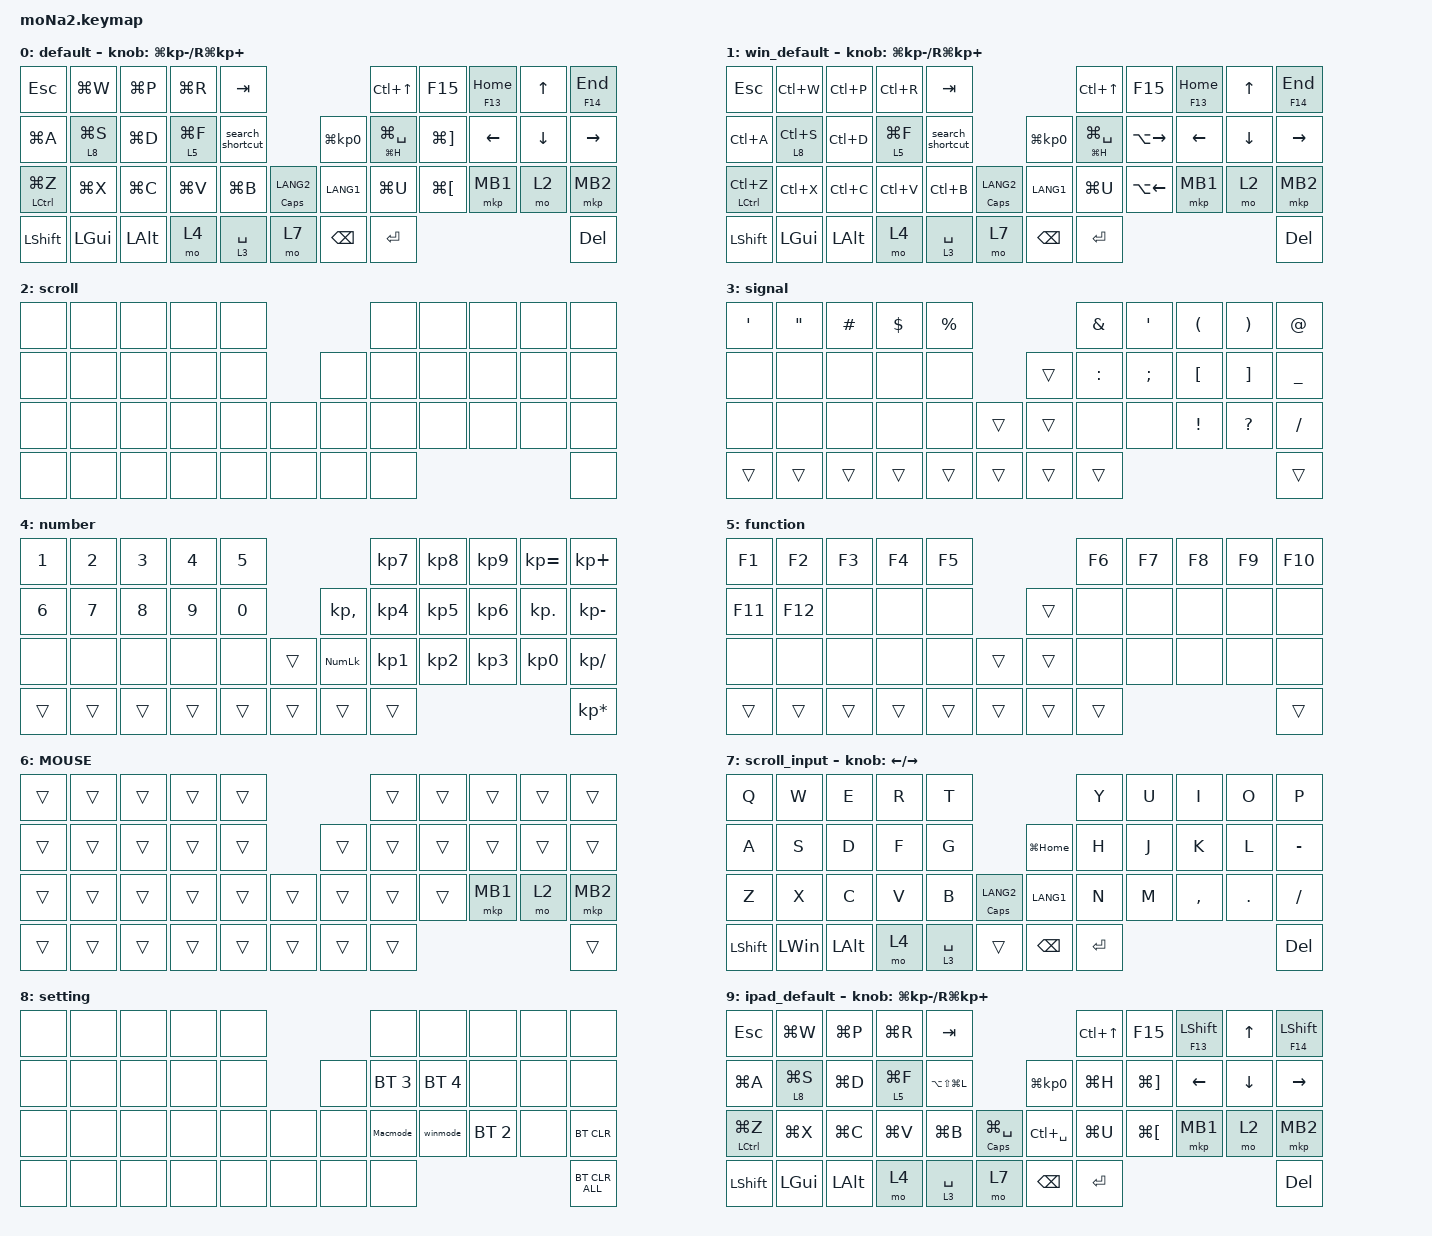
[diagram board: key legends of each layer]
#include <behaviors.dtsi>
#include <dt-bindings/zmk/bt.h>
#include <dt-bindings/zmk/keys.h>
#include <dt-bindings/zmk/pointing.h>

#define ZMK_POINTING_DEFAULT_SCRL_VAL 100
#define MOUSE 5

&mt {
    flavor = "balanced";
    quick-tap-ms = <0>;
};

/ {
    combos {
        compatible = "zmk,combos";

        username {
            bindings = <&username>;
            key-positions = <38 33>;
        };

        username2 {
            bindings = <&username2>;
            key-positions = <33 37>;
        };

        rightscroll {
            bindings = <&mo 2>;
            key-positions = <8 9>;
        };
    };

    macros {
        to_layer_0: to_layer_0 {
            compatible = "zmk,behavior-macro-one-param";
            #binding-cells = <1>;
            bindings = <&to 2 &macro_param_1to1 &kp MACRO_PLACEHOLDER>;
            label = "TO_LAYER_0";
        };

        username: username {
            compatible = "zmk,behavior-macro";
            #binding-cells = <0>;
            bindings = <&kp LANG2 &kp A &kp Z &kp U &kp R &kp E &kp KP_NUMBER_6 &kp KP_NUMBER_1 &kp KP_NUMBER_4 &kp LANG1>;
            label = "USERNAME";
        };

        username2: username2 {
            compatible = "zmk,behavior-macro";
            #binding-cells = <0>;
            bindings = <&kp LANG2 &kp LS(A) &kp Z &kp U &kp R &kp E &kp KP_NUMBER_6 &kp KP_NUMBER_9 &kp M &kp H &kp KP_NUMBER_5 &kp KP_NUMBER_2 &kp Z &kp LANG1>;
            label = "USERNAME2";
        };

        search_shortcut: search_shortcut {
            compatible = "zmk,behavior-macro";
            #binding-cells = <0>;
            bindings =
                <&kp LG(C)>,
                <&macro_wait_time 100>,
                <&kp LG(T)>,
                <&macro_wait_time 200>,
                <&kp LG(V)>,
                <&macro_wait_time 200>,
                <&kp ENTER>;

            label = "SEARCH_SHORTCUT";
        };

        winmode: winmode {
            compatible = "zmk,behavior-macro";
            #binding-cells = <0>;
            bindings =
                <&tog_off 0 &tog_off 2 &tog_off 3 &tog_off 4 &tog_off 5 &tog_off 6 &tog_off 7 &tog_off 8 &tog_off 9 &tog_off 1>,
                <&macro_press>,
                <&bt BT_SEL 1>,
                <&macro_wait_time 200>,
                <&tog_on 1>;

            label = "WINMODE";
        };

        Macmode: Macmode {
            compatible = "zmk,behavior-macro";
            #binding-cells = <0>;
            bindings =
                <&tog_off 0 &tog_off 2 &tog_off 3 &tog_off 4 &tog_off 5 &tog_off 6 &tog_off 7 &tog_off 8 &tog_off 9 &tog_off 1>,
                <&macro_press>,
                <&bt BT_SEL 0>,
                <&macro_wait_time 200>,
                <&tog_on 0>;

            label = "MACMODE";
        };
    };

    behaviors {
        lt_to_layer_0: lt_to_layer_0 {
            compatible = "zmk,behavior-hold-tap";
            label = "LAYER_TAP_TO_0";
            bindings = <&mo>, <&to_layer_0>;

            #binding-cells = <2>;
            tapping-term-ms = <200>;
        };

        scroll_up_down: behavior_sensor_rotate_mouse_wheel_up_down {
            compatible = "zmk,behavior-sensor-rotate";
            #sensor-binding-cells = <0>;
            bindings = <&msc SCRL_UP>, <&msc SCRL_DOWN>;

            tap-ms = <20>;
        };

        tog_on: toggle_layer_on_only {
            compatible = "zmk,behavior-toggle-layer";
            #binding-cells = <1>;
            display-name = "Toggle Layer On";
            toggle-mode = "on";
        };

        tog_off: toggle_layer_off_only {
            compatible = "zmk,behavior-toggle-layer";
            #binding-cells = <1>;
            display-name = "Toggle Layer Off";
            toggle-mode = "off";
        };
    };

    keymap {
        compatible = "zmk,keymap";

        default {
            bindings = <
&kp ESC          &kp LG(W)    &kp LG(P)  &kp LG(R)    &kp TAB                                                      &kp LC(UP)           &kp F15                &mt F13 HOME  &kp UP    &mt F14 END
&kp LG(A)        &lt 8 LG(S)  &kp LG(D)  &lt 5 LG(F)  &search_shortcut                        &kp LG(KP_NUMBER_0)  &mt LG(H) LG(SPACE)  &kp LG(RIGHT_BRACKET)  &kp LEFT      &kp DOWN  &kp RIGHT
&mt LCTRL LG(Z)  &kp LG(X)    &kp LG(C)  &kp LG(V)    &kp LG(B)         &mt CAPSLOCK LANG2    &kp LANG1            &kp LG(U)            &kp LG(LEFT_BRACKET)   &mkp MB1      &mo 2     &mkp MB2
&kp LSHFT        &kp LGUI     &kp LALT   &mo 4        &lt 3 SPACE       &mo 7                 &kp BSPC             &kp ENTER                                                           &kp DELETE
            >;

            sensor-bindings = <&inc_dec_kp LG(KP_MINUS) RG(KP_PLUS)>;
        };

        win_default {
            bindings = <
&kp ESC          &kp LC(W)    &kp LC(P)  &kp LC(R)    &kp TAB                                                      &kp LC(UP)           &kp F15              &mt F13 HOME  &kp UP    &mt F14 END
&kp LC(A)        &lt 8 LC(S)  &kp LC(D)  &lt 5 LG(F)  &search_shortcut                        &kp LG(KP_NUMBER_0)  &mt LG(H) LG(SPACE)  &kp LA(RIGHT_ARROW)  &kp LEFT      &kp DOWN  &kp RIGHT
&mt LCTRL LC(Z)  &kp LC(X)    &kp LC(C)  &kp LC(V)    &kp LC(B)         &mt CAPSLOCK LANG2    &kp LANG1            &kp LG(U)            &kp LA(LEFT)         &mkp MB1      &mo 2     &mkp MB2
&kp LSHFT        &kp LGUI     &kp LALT   &mo 4        &lt 3 SPACE       &mo 7                 &kp BSPC             &kp ENTER                                                         &kp DELETE
            >;

            sensor-bindings = <&inc_dec_kp LG(KP_MINUS) RG(KP_PLUS)>;
        };

        scroll {
            bindings = <
&none  &none  &none  &none  &none                  &none  &none  &none  &none  &none
&none  &none  &none  &none  &none           &none  &none  &none  &none  &none  &none
&none  &none  &none  &none  &none  &none    &none  &none  &none  &none  &none  &none
&none  &none  &none  &none  &none  &none    &none  &none                       &none
            >;
        };

        signal {
            bindings = <
&kp SQT  &kp DOUBLE_QUOTES  &kp HASH  &kp DOLLAR  &kp PERCENT                    &kp AMPERSAND  &kp SQT        &kp LEFT_PARENTHESIS  &kp RIGHT_PARENTHESIS  &kp AT_SIGN
&none    &none              &none     &none       &none                  &trans  &kp COLON      &kp SEMICOLON  &kp LEFT_BRACKET      &kp RIGHT_BRACKET      &kp UNDERSCORE
&none    &none              &none     &none       &none        &trans    &trans  &none          &none          &kp EXCLAMATION       &kp QUESTION           &kp SLASH
&trans   &trans             &trans    &trans      &trans       &trans    &trans  &trans                                                                     &trans
            >;
        };

        number {
            bindings = <
&kp NUMBER_1  &kp NUMBER_2  &kp NUMBER_3  &kp NUMBER_4  &kp NUMBER_5                          &kp KP_NUMBER_7  &kp KP_NUMBER_8  &kp KP_NUMBER_9  &kp KP_EQUAL     &kp KP_PLUS
&kp N6        &kp N7        &kp N8        &kp N9        &kp N0                  &kp KP_COMMA  &kp KP_NUMBER_4  &kp KP_NUMBER_5  &kp KP_NUMBER_6  &kp KP_DOT       &kp KP_MINUS
&none         &none         &none         &none         &none         &trans    &kp KP_NLCK   &kp KP_NUMBER_1  &kp KP_NUMBER_2  &kp KP_NUMBER_3  &kp KP_NUMBER_0  &kp KP_SLASH
&trans        &trans        &trans        &trans        &trans        &trans    &trans        &trans                                                              &kp KP_ASTERISK
            >;
        };

        function {
            bindings = <
&kp F1   &kp F2   &kp F3  &kp F4  &kp F5                    &kp F6  &kp F7  &kp F8  &kp F9  &kp F10
&kp F11  &kp F12  &none   &none   &none             &trans  &none   &none   &none   &none   &none
&none    &none    &none   &none   &none   &trans    &trans  &none   &none   &none   &none   &none
&trans   &trans   &trans  &trans  &trans  &trans    &trans  &trans                          &trans
            >;
        };

        MOUSE {
            bindings = <
&trans  &trans  &trans  &trans  &trans                    &trans  &trans  &trans    &trans  &trans
&trans  &trans  &trans  &trans  &trans            &trans  &trans  &trans  &trans    &trans  &trans
&trans  &trans  &trans  &trans  &trans  &trans    &trans  &trans  &trans  &mkp MB1  &mo 2   &mkp MB2
&trans  &trans  &trans  &trans  &trans  &trans    &trans  &trans                            &trans
            >;
        };

        scroll_input {
            bindings = <
&kp Q           &kp W         &kp E         &kp R  &kp T                                             &kp Y      &kp U  &kp I      &kp O    &kp P
&kp A           &kp S         &kp D         &kp F  &kp G                              &kp LG(HOME)   &kp H      &kp J  &kp K      &kp L    &kp MINUS
&kp Z           &kp X         &kp C         &kp V  &kp B        &mt CAPSLOCK LANG2    &kp LANG1      &kp N      &kp M  &kp COMMA  &kp DOT  &kp SLASH
&kp LEFT_SHIFT  &kp LEFT_WIN  &kp LEFT_ALT  &mo 4  &lt 3 SPACE  &trans                &kp BACKSPACE  &kp ENTER                             &kp DEL
            >;

            sensor-bindings = <&inc_dec_kp LEFT_ARROW RIGHT_ARROW>;
        };

        setting {
            bindings = <
&none  &none  &none  &none  &none                  &none         &none         &none         &none  &none
&none  &none  &none  &none  &none           &none  &bt BT_SEL 3  &bt BT_SEL 4  &none         &none  &none
&none  &none  &none  &none  &none  &none    &none  &Macmode      &winmode      &bt BT_SEL 2  &none  &bt BT_CLR
&none  &none  &none  &none  &none  &none    &none  &none                                            &bt BT_CLR_ALL
            >;
        };

        ipad_default {
            bindings = <
&kp ESC          &kp LG(W)    &kp LG(P)  &kp LG(R)    &kp TAB                                                           &kp LC(UP)  &kp F15                &mt F13 LEFT_SHIFT  &kp UP    &mt F14 LEFT_SHIFT
&kp LG(A)        &lt 8 LG(S)  &kp LG(D)  &lt 5 LG(F)  &kp LA(LS(LG(L)))                            &kp LG(KP_NUMBER_0)  &kp LG(H)   &kp LG(RIGHT_BRACKET)  &kp LEFT            &kp DOWN  &kp RIGHT
&mt LCTRL LG(Z)  &kp LG(X)    &kp LG(C)  &kp LG(V)    &kp LG(B)          &mt CAPSLOCK LG(SPACE)    &kp LC(SPACE)        &kp LG(U)   &kp LG(LEFT_BRACKET)   &mkp MB1            &mo 2     &mkp MB2
&kp LSHFT        &kp LGUI     &kp LALT   &mo 4        &lt 3 SPACE        &mo 7                     &kp BSPC             &kp ENTER                                                        &kp DELETE
            >;

            sensor-bindings = <&inc_dec_kp LG(KP_MINUS) RG(KP_PLUS)>;
        };
    };
};
